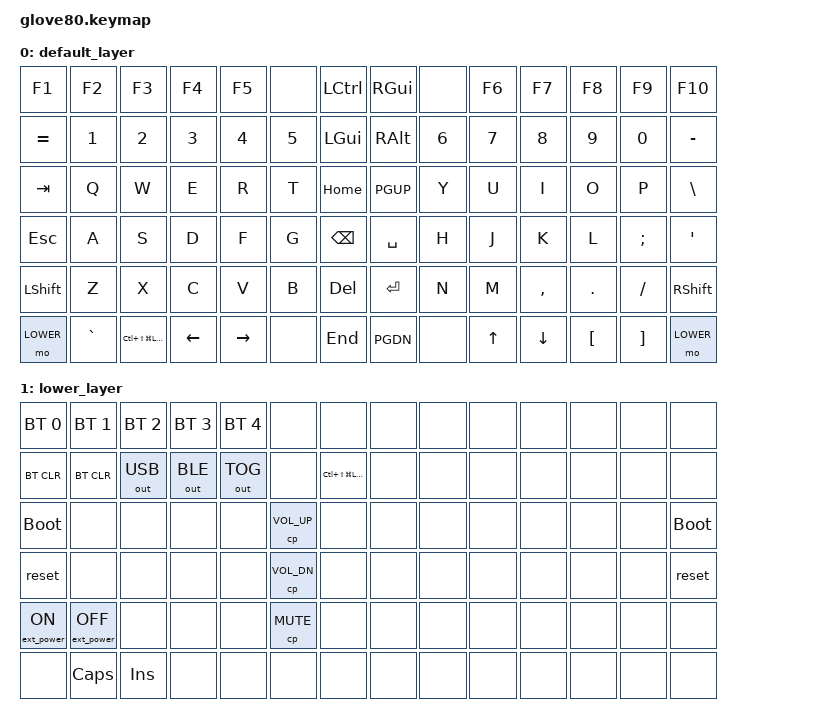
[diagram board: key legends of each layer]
/*
 * Copyright (c) 2020 The ZMK Contributors
 *
 * SPDX-License-Identifier: MIT
 */

#include <behaviors.dtsi>
#include <dt-bindings/zmk/keys.h>
#include <dt-bindings/zmk/bt.h>
#include <dt-bindings/zmk/ext_power.h>
#include <dt-bindings/zmk/outputs.h> 

#define HYPER LC(LS(LG(LALT)))

// layers
#define DEFAULT 0
#define LOWER 1

/ {
    keymap {
      compatible = "zmk,keymap";

      default_layer {
        // ---------------------------------------------------------------------------------------------------------------------------------
        // |  F1   |  F2 |  F3 |  F4  |  F5  | n/a  | LSHFT | | RSHFT | n/a  |  F6   |  F7   |  F8  |   F9  |  F10 |
        // |  =    |  1  |  2  |  3   |  4   |  5   | LCTRL | | RCTRL |  6   |   7   |   8   |  9   |   0   |   -  |
        // |  TAB  |  Q  |  W  |  E   |  R   |  T   | LOWER | | LGUI  |  Y   |   U   |   I   |  O   |   P   |   \  |
        // |  ESC  |  A  |  S  |  D   |  F   |  G   | BSPC  | | SPACE |  H   |   J   |   K   |  L   |   ;   |   '  |
        // |   `   |  Z  |  X  |  C   |  V   |  B   | DEL   | | RET   |  N   |   M   |   ,   |  .   |   /   | PGUP |
        // | MAGIC | HOME| END | LEFT | RIGHT| n/a  | LALT  | | RALT  | n/a  |  UP   | DOWN  |  [   |   ]   | PGDN |


        // MAGIC is currently bound to the same as LAYER - these will be fixed later
        bindings = <
          &kp F1      &kp F2      &kp F3      &kp F4      &kp F5      &none   &kp LCTRL   &kp RGUI   &none   &kp F6  &kp F7      &kp F8      &kp F9      &kp F10
          &kp EQUAL   &kp N1      &kp N2      &kp N3      &kp N4      &kp N5  &kp LGUI    &kp RALT   &kp N6  &kp N7  &kp N8      &kp N9      &kp N0      &kp MINUS
          &kp TAB     &kp Q       &kp W       &kp E       &kp R       &kp T   &kp HOME    &kp PGUP   &kp Y   &kp U   &kp I       &kp O       &kp P       &kp BSLH
          &kp ESC     &kp A       &kp S       &kp D       &kp F       &kp G   &kp BSPC    &kp SPACE  &kp H   &kp J   &kp K       &kp L       &kp SEMI    &kp SQT
          &kp LSHFT   &kp Z       &kp X       &kp C       &kp V       &kp B   &kp DEL     &kp RET    &kp N   &kp M   &kp COMMA   &kp DOT     &kp FSLH    &kp RSHFT
          &mo LOWER   &kp GRAVE   &kp HYPER   &kp LEFT    &kp RIGHT   &none   &kp END     &kp PGDN   &none   &kp UP  &kp DOWN    &kp LBKT    &kp RBKT    &mo LOWER
          >;
      };

      lower_layer {
        bindings = <
          &bt BT_SEL 0     &bt BT_SEL 1      &bt BT_SEL 2 &bt BT_SEL 3 &bt BT_SEL 4 &none          &none        &none        &none        &none        &none        &none        &none        &none
          &bt BT_CLR       &bt BT_CLR        &out OUT_USB &out OUT_BLE &out OUT_TOG &none          &kp HYPER    &none        &none        &none        &none        &none        &none        &none
          &bootloader      &none             &none        &none        &none        &cp C_VOL_UP   &none        &none        &none        &none        &none        &none        &none        &bootloader
          &reset           &none             &none        &none        &none        &cp C_VOL_DN   &none        &none        &none        &none        &none        &none        &none        &reset
          &ext_power EP_ON &ext_power EP_OFF &none        &none        &none        &cp C_MUTE     &none        &none        &none        &none        &none        &none        &none        &none
          &none            &kp CAPS          &kp INS      &none        &none        &none          &none        &none        &none        &none        &none        &none        &none        &none
          >;
      };
    };
};
